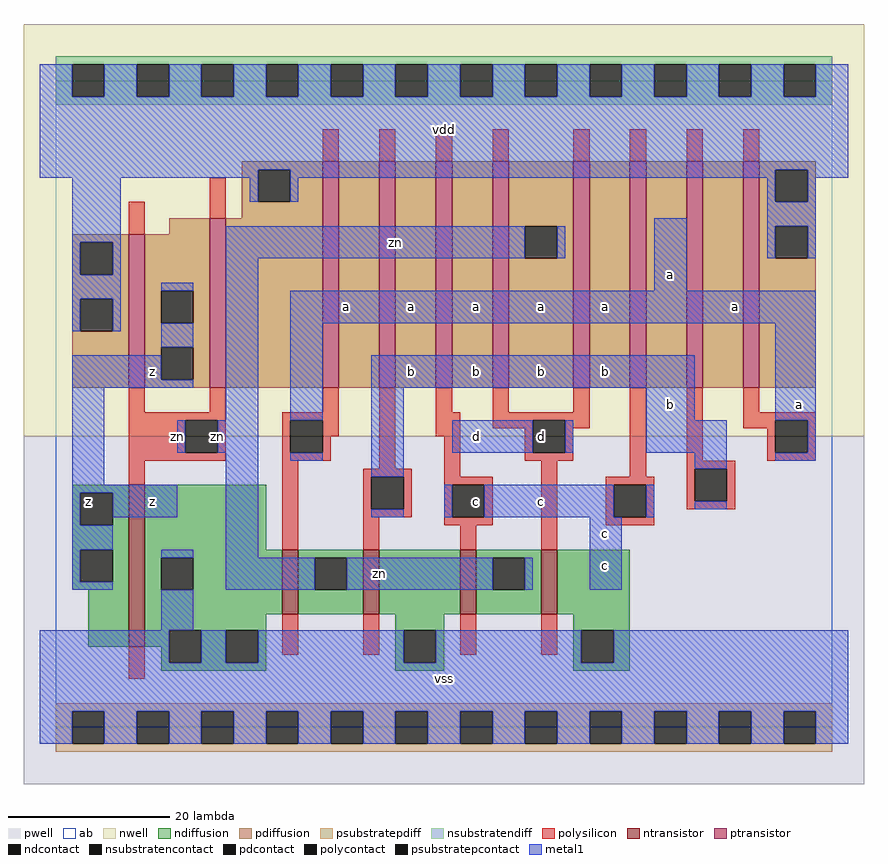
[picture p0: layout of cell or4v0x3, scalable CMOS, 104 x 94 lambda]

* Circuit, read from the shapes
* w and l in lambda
.subckt or4v0x3 a b c d vdd vss z zn
M1 vss zn z vss nfet w=20 l=2
M2 zn a vss vss nfet w=8 l=2
M3 vss b zn vss nfet w=8 l=2
M4 zn c vss vss nfet w=8 l=2
M5 vss d zn vss nfet w=8 l=2
M6 z zn vdd vdd pfet w=19 l=2
M7 vdd zn z vdd pfet w=21 l=2
M8 n1 a vdd vdd pfet w=28 l=2
M9 n2 b n1 vdd pfet w=28 l=2
M10 n3 c n2 vdd pfet w=28 l=2
M11 zn d n3 vdd pfet w=28 l=2
M12 n4 d zn vdd pfet w=28 l=2
M13 n5 c n4 vdd pfet w=28 l=2
M14 n6 b n5 vdd pfet w=28 l=2
M15 vdd a n6 vdd pfet w=28 l=2
.ends

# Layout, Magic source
magic
tech scmos
<< ab >>
rect 0 0 96 80
<< pwell >>
rect -4 -7 100 36
<< nwell >>
rect -4 36 100 87
<< polysilicon >>
rect 33 70 35 74
rect 40 70 42 74
rect 47 70 49 74
rect 54 70 56 74
rect 64 70 66 74
rect 71 70 73 74
rect 78 70 80 74
rect 85 70 87 74
rect 9 61 11 65
rect 19 63 21 68
rect 9 39 11 42
rect 19 39 21 42
rect 33 39 35 42
rect 9 38 21 39
rect 9 34 16 38
rect 20 34 21 38
rect 9 33 21 34
rect 28 38 35 39
rect 28 34 29 38
rect 33 36 35 38
rect 33 34 34 36
rect 28 33 34 34
rect 9 30 11 33
rect 28 22 30 33
rect 40 32 42 42
rect 47 39 49 42
rect 54 39 56 42
rect 64 39 66 42
rect 47 36 50 39
rect 54 38 66 39
rect 54 37 59 38
rect 38 31 44 32
rect 38 27 39 31
rect 43 27 44 31
rect 38 26 44 27
rect 48 31 50 36
rect 58 34 59 37
rect 63 37 66 38
rect 63 34 64 37
rect 58 33 64 34
rect 48 30 54 31
rect 48 26 49 30
rect 53 26 54 30
rect 38 22 40 26
rect 48 25 54 26
rect 50 22 52 25
rect 60 22 62 33
rect 71 31 73 42
rect 78 33 80 42
rect 85 39 87 42
rect 85 38 94 39
rect 85 37 89 38
rect 88 34 89 37
rect 93 34 94 38
rect 88 33 94 34
rect 78 32 84 33
rect 68 30 74 31
rect 68 26 69 30
rect 73 26 74 30
rect 78 28 79 32
rect 83 28 84 32
rect 78 27 84 28
rect 68 25 74 26
rect 9 6 11 10
rect 28 9 30 14
rect 38 9 40 14
rect 50 9 52 14
rect 60 9 62 14
<< ndiffusion >>
rect 2 29 9 30
rect 2 25 3 29
rect 7 25 9 29
rect 2 22 9 25
rect 2 18 3 22
rect 7 18 9 22
rect 2 17 9 18
rect 4 10 9 17
rect 11 22 26 30
rect 11 21 28 22
rect 11 17 13 21
rect 17 17 28 21
rect 11 14 28 17
rect 30 21 38 22
rect 30 17 32 21
rect 36 17 38 21
rect 30 14 38 17
rect 40 14 50 22
rect 52 21 60 22
rect 52 17 54 21
rect 58 17 60 21
rect 52 14 60 17
rect 62 14 71 22
rect 11 12 26 14
rect 11 10 14 12
rect 13 8 14 10
rect 18 8 21 12
rect 25 8 26 12
rect 42 12 48 14
rect 13 7 26 8
rect 42 8 43 12
rect 47 8 48 12
rect 64 12 71 14
rect 42 7 48 8
rect 64 8 65 12
rect 69 8 71 12
rect 64 7 71 8
<< pdiffusion >>
rect 23 69 33 70
rect 23 65 25 69
rect 29 65 33 69
rect 23 63 33 65
rect 14 61 19 63
rect 2 60 9 61
rect 2 56 3 60
rect 7 56 9 60
rect 2 53 9 56
rect 2 49 3 53
rect 7 49 9 53
rect 2 42 9 49
rect 11 54 19 61
rect 11 50 13 54
rect 17 50 19 54
rect 11 47 19 50
rect 11 43 13 47
rect 17 43 19 47
rect 11 42 19 43
rect 21 42 33 63
rect 35 42 40 70
rect 42 42 47 70
rect 49 42 54 70
rect 56 62 64 70
rect 56 58 58 62
rect 62 58 64 62
rect 56 42 64 58
rect 66 42 71 70
rect 73 42 78 70
rect 80 42 85 70
rect 87 69 94 70
rect 87 65 89 69
rect 93 65 94 69
rect 87 62 94 65
rect 87 58 89 62
rect 93 58 94 62
rect 87 42 94 58
<< metal1 >>
rect -2 78 2 82
rect 6 78 10 82
rect 14 78 18 82
rect 22 78 26 82
rect 30 78 34 82
rect 38 78 42 82
rect 46 78 50 82
rect 54 78 58 82
rect 62 78 66 82
rect 70 78 74 82
rect 78 78 82 82
rect 86 78 90 82
rect 94 78 98 82
rect -2 69 98 78
rect -2 68 25 69
rect 2 60 8 68
rect 24 65 25 68
rect 29 68 89 69
rect 29 65 30 68
rect 88 65 89 68
rect 93 68 98 69
rect 93 65 94 68
rect 2 56 3 60
rect 7 56 8 60
rect 2 53 8 56
rect 21 58 58 62
rect 62 58 63 62
rect 2 49 3 53
rect 7 49 8 53
rect 13 54 17 55
rect 13 47 17 50
rect 2 43 13 46
rect 2 42 17 43
rect 2 30 6 42
rect 21 38 25 58
rect 74 54 78 63
rect 88 62 94 65
rect 88 58 89 62
rect 93 58 94 62
rect 15 34 16 38
rect 20 34 25 38
rect 2 29 15 30
rect 2 25 3 29
rect 7 26 15 29
rect 2 22 7 25
rect 2 18 3 22
rect 2 17 7 18
rect 13 21 17 22
rect 21 21 25 34
rect 29 50 94 54
rect 29 38 33 50
rect 29 33 33 34
rect 39 42 79 46
rect 39 31 43 42
rect 73 38 79 42
rect 89 38 94 50
rect 49 34 59 38
rect 63 34 64 38
rect 73 34 83 38
rect 79 32 83 34
rect 93 34 94 38
rect 89 33 94 34
rect 39 26 43 27
rect 48 26 49 30
rect 53 26 69 30
rect 73 26 74 30
rect 79 27 83 28
rect 21 17 32 21
rect 36 17 54 21
rect 58 17 59 21
rect 66 17 70 26
rect 13 12 17 17
rect -2 8 14 12
rect 18 8 21 12
rect 25 8 43 12
rect 47 8 65 12
rect 69 8 98 12
rect -2 2 98 8
rect -2 -2 2 2
rect 6 -2 10 2
rect 14 -2 18 2
rect 22 -2 26 2
rect 30 -2 34 2
rect 38 -2 42 2
rect 46 -2 50 2
rect 54 -2 58 2
rect 62 -2 66 2
rect 70 -2 74 2
rect 78 -2 82 2
rect 86 -2 90 2
rect 94 -2 98 2
<< ntransistor >>
rect 9 10 11 30
rect 28 14 30 22
rect 38 14 40 22
rect 50 14 52 22
rect 60 14 62 22
<< ptransistor >>
rect 9 42 11 61
rect 19 42 21 63
rect 33 42 35 70
rect 40 42 42 70
rect 47 42 49 70
rect 54 42 56 70
rect 64 42 66 70
rect 71 42 73 70
rect 78 42 80 70
rect 85 42 87 70
<< polycontact >>
rect 16 34 20 38
rect 29 34 33 38
rect 39 27 43 31
rect 59 34 63 38
rect 49 26 53 30
rect 89 34 93 38
rect 69 26 73 30
rect 79 28 83 32
<< ndcontact >>
rect 3 25 7 29
rect 3 18 7 22
rect 13 17 17 21
rect 32 17 36 21
rect 54 17 58 21
rect 14 8 18 12
rect 21 8 25 12
rect 43 8 47 12
rect 65 8 69 12
<< pdcontact >>
rect 25 65 29 69
rect 3 56 7 60
rect 3 49 7 53
rect 13 50 17 54
rect 13 43 17 47
rect 58 58 62 62
rect 89 65 93 69
rect 89 58 93 62
<< psubstratepcontact >>
rect 2 -2 6 2
rect 10 -2 14 2
rect 18 -2 22 2
rect 26 -2 30 2
rect 34 -2 38 2
rect 42 -2 46 2
rect 50 -2 54 2
rect 58 -2 62 2
rect 66 -2 70 2
rect 74 -2 78 2
rect 82 -2 86 2
rect 90 -2 94 2
<< nsubstratencontact >>
rect 2 78 6 82
rect 10 78 14 82
rect 18 78 22 82
rect 26 78 30 82
rect 34 78 38 82
rect 42 78 46 82
rect 50 78 54 82
rect 58 78 62 82
rect 66 78 70 82
rect 74 78 78 82
rect 82 78 86 82
rect 90 78 94 82
<< psubstratepdiff >>
rect 0 2 96 3
rect 0 -2 2 2
rect 6 -2 10 2
rect 14 -2 18 2
rect 22 -2 26 2
rect 30 -2 34 2
rect 38 -2 42 2
rect 46 -2 50 2
rect 54 -2 58 2
rect 62 -2 66 2
rect 70 -2 74 2
rect 78 -2 82 2
rect 86 -2 90 2
rect 94 -2 96 2
rect 0 -3 96 -2
<< nsubstratendiff >>
rect 0 82 96 83
rect 0 78 2 82
rect 6 78 10 82
rect 14 78 18 82
rect 22 78 26 82
rect 30 78 34 82
rect 38 78 42 82
rect 46 78 50 82
rect 54 78 58 82
rect 62 78 66 82
rect 70 78 74 82
rect 78 78 82 82
rect 86 78 90 82
rect 94 78 96 82
rect 0 77 96 78
<< labels >>
rlabel polysilicon 15 36 15 36 6 zn
rlabel ndcontact 4 28 4 28 6 z
rlabel metal1 12 28 12 28 6 z
rlabel metal1 12 44 12 44 6 z
rlabel metal1 20 36 20 36 6 zn
rlabel metal1 48 6 48 6 6 vss
rlabel polycontact 52 28 52 28 6 c
rlabel metal1 44 44 44 44 6 b
rlabel metal1 52 36 52 36 6 d
rlabel metal1 52 44 52 44 6 b
rlabel metal1 44 52 44 52 6 a
rlabel metal1 52 52 52 52 6 a
rlabel metal1 36 52 36 52 6 a
rlabel metal1 48 74 48 74 6 vdd
rlabel metal1 60 28 60 28 6 c
rlabel metal1 40 19 40 19 6 zn
rlabel metal1 68 20 68 20 6 c
rlabel metal1 68 24 68 24 6 c
rlabel polycontact 60 36 60 36 6 d
rlabel metal1 60 44 60 44 6 b
rlabel metal1 68 44 68 44 6 b
rlabel metal1 76 40 76 40 6 b
rlabel metal1 68 52 68 52 6 a
rlabel metal1 60 52 60 52 6 a
rlabel metal1 42 60 42 60 6 zn
rlabel metal1 76 56 76 56 6 a
rlabel metal1 92 40 92 40 6 a
rlabel metal1 84 52 84 52 6 a
<< end >>
